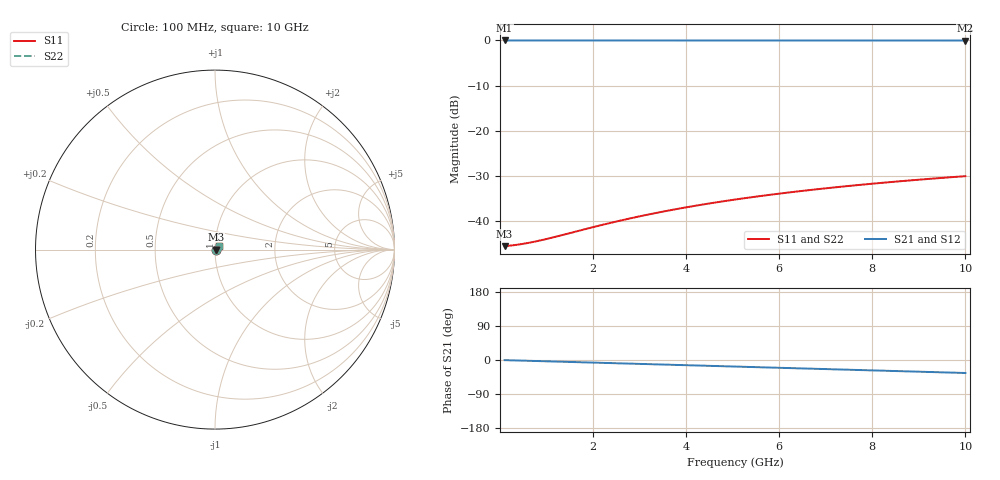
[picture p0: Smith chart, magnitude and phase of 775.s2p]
# Hz S RI R 50.00
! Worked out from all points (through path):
!   100 points, 100 MHz to 10 GHz, reference 50 ohm
!   highest |S21| = -0.05 dB at 100 MHz (marker M1); lowest = -0.1 dB at 10 GHz (marker M2)
!   group delay of S21, straight-line fit = 9.52 ps
!   lowest |S11| = -45.5 dB at 100 MHz (marker M3), VSWR 1.01, Z = 50.5 + j0.0304 ohm
!   |S11| at or under -10 dB: start of sweep to end of sweep
!   |S22| runs from -45.5 to -30.0 dB; largest |S21 - S12| = 0
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1e8  0.0053 0.000301  0.9947 -0.00594  0.9947 -0.00594  0.0053 0.000301
3e8  0.00537 0.000901  0.9945 -0.0178  0.9945 -0.0178  0.00537 0.000901
4e8  0.0054 0.0012  0.9943 -0.0238  0.9943 -0.0238  0.0054 0.0012
6e8  0.00547 0.0018  0.9939 -0.0356  0.9939 -0.0356  0.00547 0.0018
8e8  0.00554 0.0024  0.9934 -0.0475  0.9934 -0.0475  0.00554 0.0024
1.2e9  0.00573 0.00358  0.9919 -0.0712  0.9919 -0.0712  0.00573 0.00358
1.8e9  0.00609 0.00534  0.9886 -0.1067  0.9886 -0.1067  0.00609 0.00534
2.2e9  0.00641 0.0065  0.9858 -0.1303  0.9858 -0.1303  0.00641 0.0065
2.6e9  0.00678 0.00764  0.9823 -0.1539  0.9823 -0.1539  0.00678 0.00764
3e9  0.0072 0.00876  0.9783 -0.1773  0.9783 -0.1773  0.0072 0.00876
3.4e9  0.00767 0.00985  0.9737 -0.2006  0.9737 -0.2006  0.00767 0.00985
3.8e9  0.0082 0.0109  0.9686 -0.2238  0.9686 -0.2238  0.0082 0.0109
4.2e9  0.00878 0.012  0.9629 -0.2469  0.9629 -0.2469  0.00878 0.012
4.6e9  0.00941 0.013  0.9567 -0.2699  0.9567 -0.2699  0.00941 0.013
5.1e9  0.0103 0.0142  0.9481 -0.2984  0.9481 -0.2984  0.0103 0.0142
5.5e9  0.011 0.0151  0.9407 -0.321  0.9407 -0.321  0.011 0.0151
5.9e9  0.0118 0.016  0.9327 -0.3434  0.9327 -0.3434  0.0118 0.016
6.7e9  0.0135 0.0177  0.9151 -0.3876  0.9151 -0.3876  0.0135 0.0177
7.5e9  0.0153 0.0192  0.8953 -0.4309  0.8953 -0.4309  0.0153 0.0192
8.4e9  0.0176 0.0207  0.8707 -0.4785  0.8707 -0.4785  0.0176 0.0207
9.2e9  0.0197 0.0217  0.8466 -0.5197  0.8466 -0.5197  0.0197 0.0217
1e10  0.0219 0.0226  0.8206 -0.5596  0.8206 -0.5596  0.0219 0.0226
